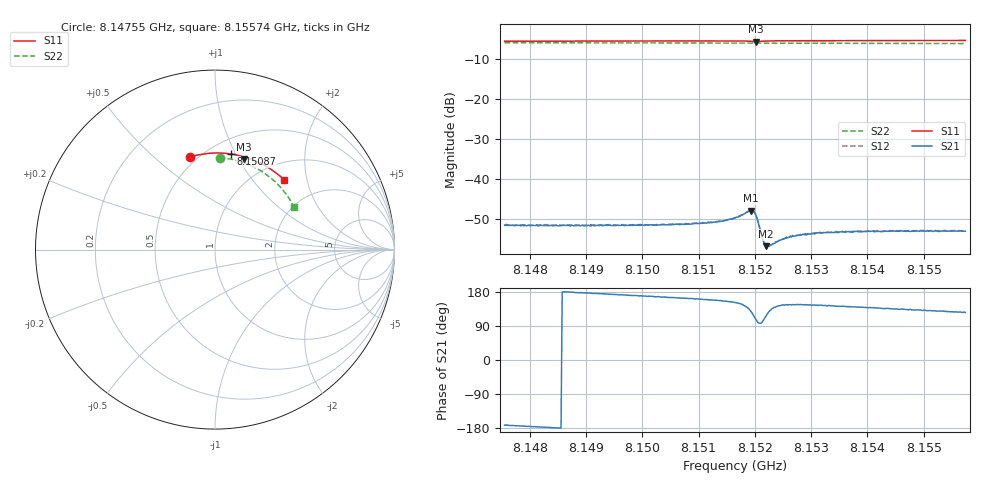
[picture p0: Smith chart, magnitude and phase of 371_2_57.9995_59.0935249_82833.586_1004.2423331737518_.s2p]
#  HZ  S  RI  R  50.00
! Rohde & Schwarz Vector Network Analyzer
! Rohde-Schwarz,ZNB20-2Port,1311601062101988,3.16
! Created: UTC 3/21/2024, 1:06:55 AM
! freq[Hz]  re:S11  im:S11  re:S21  im:S21  re:S12  im:S12  re:S22  im:S22
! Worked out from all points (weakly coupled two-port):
!   401 points, 8.14755 GHz to 8.15574 GHz, reference 50 ohm
!   highest |S21| = -47.91 dB at 8.15193 GHz (marker M1); lowest = -56.8 dB at 8.1522 GHz (marker M2)
!   lowest |S11| = -5.5 dB at 8.15202 GHz (marker M3), VSWR 3.25, Z = 37.5 + j52.6 ohm
!   |S11| at or under -10 dB: nowhere
!   |S22| runs from -6.0 to -5.8 dB; largest |S21 - S12| = 0.00013
!   S11 on the Smith chart (normalised r, x): 8.14755 GHz: 0.46, +0.66; 8.15087 GHz: 0.63, +0.95; 8.15574 GHz: 1.32, +1.47
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8.147551e9  -0.1414 0.5155  -0.00261 -0.000365  -0.00263 -0.000331  0.0255 0.5122
8.148923e9  -0.0479 0.535  -0.00265 0.000121  -0.00267 0.000167  0.1135 0.4983
8.150295e9  0.0477 0.5372  -0.0026 0.000604  -0.00261 0.00066  0.197 0.4697
8.150869e9  0.0875 0.5332  -0.00261 0.000826  -0.00263 0.000884  0.2302 0.4534
8.151278e9  0.1163 0.5281  -0.00268 0.00108  -0.00267 0.00113  0.2529 0.4404
8.151462e9  0.1292 0.5251  -0.00275 0.00128  -0.00277 0.00127  0.2628 0.4341
8.151647e9  0.1426 0.5213  -0.00287 0.00155  -0.00286 0.0016  0.2726 0.4277
8.151933e9  0.1616 0.5086  -0.00245 0.00319  -0.00247 0.00329  0.2875 0.4168
8.151974e9  0.1617 0.5058  -0.00186 0.0035  -0.00184 0.00356  0.2895 0.4154
8.152015e9  0.1607 0.5046  -0.00107 0.00343  -0.000998 0.00344  0.2914 0.4139
8.152056e9  0.16 0.5059  -0.000446 0.00289  -0.00041 0.00293  0.2935 0.4124
8.152138e9  0.1639 0.5097  -0.00035 0.00174  -0.000351 0.00174  0.2976 0.4095
8.152159e9  0.1656 0.5102  -0.000468 0.00156  -0.000455 0.00157  0.2986 0.4087
8.1522e9  0.1689 0.5108  -0.000634 0.0013  -0.000646 0.00134  0.3008 0.4073
8.152261e9  0.174 0.5108  -0.000929 0.00113  -0.000912 0.00112  0.3038 0.4049
8.152445e9  0.1883 0.5078  -0.00138 0.00102  -0.00141 0.00104  0.313 0.3975
8.15263e9  0.2013 0.5037  -0.00158 0.00108  -0.00159 0.0011  0.322 0.39
8.152834e9  0.2149 0.4986  -0.00165 0.00112  -0.00169 0.00115  0.3314 0.3812
8.153019e9  0.227 0.4937  -0.00169 0.00119  -0.00171 0.00122  0.3401 0.3735
8.153551e9  0.2606 0.4777  -0.00171 0.00135  -0.00172 0.00142  0.3637 0.3493
8.154391e9  0.3108 0.4483  -0.00159 0.00156  -0.00158 0.00157  0.397 0.3085
8.155742e9  0.3836 0.3904  -0.0013 0.00181  -0.00131 0.00182  0.4409 0.2365
